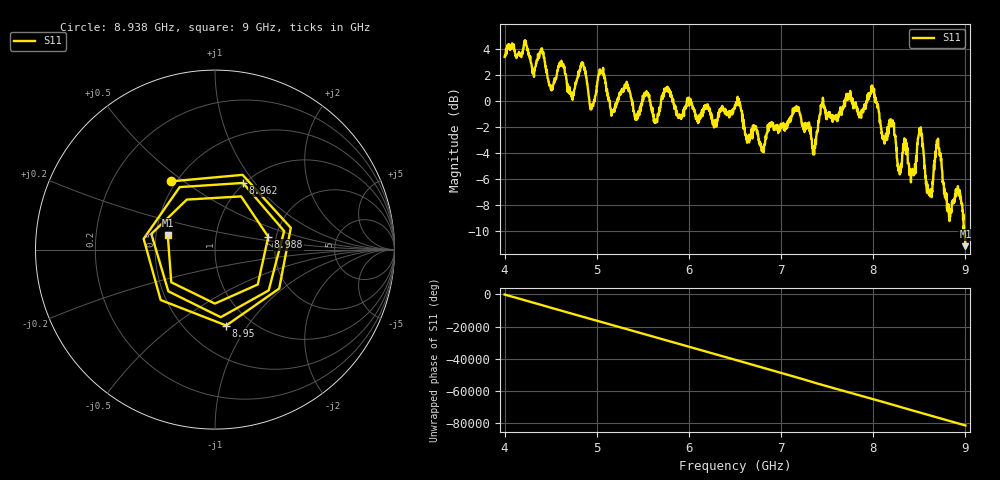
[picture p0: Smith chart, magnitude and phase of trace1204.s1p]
! Created with skrf 1.8.0 (http://scikit-rf.org).
# Hz S RI R 50.0
!freq ReS11 ImS11
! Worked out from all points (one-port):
!   1601 points, 4 GHz to 9 GHz, reference 50 ohm
!   lowest |S11| = -11.2 dB at 9 GHz (marker M1), VSWR 1.76, Z = 28.8 + j5.09 ohm
!   |S11| at or under -10 dB: 8.986196 GHz to end of sweep
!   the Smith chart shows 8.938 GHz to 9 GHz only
!   S11 on the Smith chart (normalised r, x): 8.938 GHz: 0.47, +0.45; 8.95 GHz: 0.77, -0.80; 8.962 GHz: 0.99, +0.87; 8.988 GHz: 1.81, +0.29; 9 GHz: 0.58, +0.10
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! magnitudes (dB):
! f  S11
! 4 GHz  3.4
! 4.625 GHz  2.9
! 4.731 GHz  0.7
! 4.853 GHz  2.8
! 4.944 GHz  -0.6
! 5.044 GHz  2.2
! 5.169 GHz  -0.9
! 5.25 GHz  0.6
! 5.875 GHz  -1.0
! 6.5 GHz  -0.3
! 6.797 GHz  -3.6
! 7.125 GHz  -0.9
! 7.353 GHz  -3.7
! 7.45 GHz  -0.2
! 7.75 GHz  0.8
! 7.991 GHz  0.9
! 8.281 GHz  -5.3
! 8.375 GHz  -4.8
! 8.434 GHz  -5.5
! 8.509 GHz  -2.4
! 8.606 GHz  -7.2
! 8.7 GHz  -3.4
! 8.825 GHz  -8.9
! 8.938 GHz  -6.9
! 8.95 GHz  -7.4
! 8.962 GHz  -7.9
! 8.988 GHz  -10.3
! 9 GHz  -11.2
